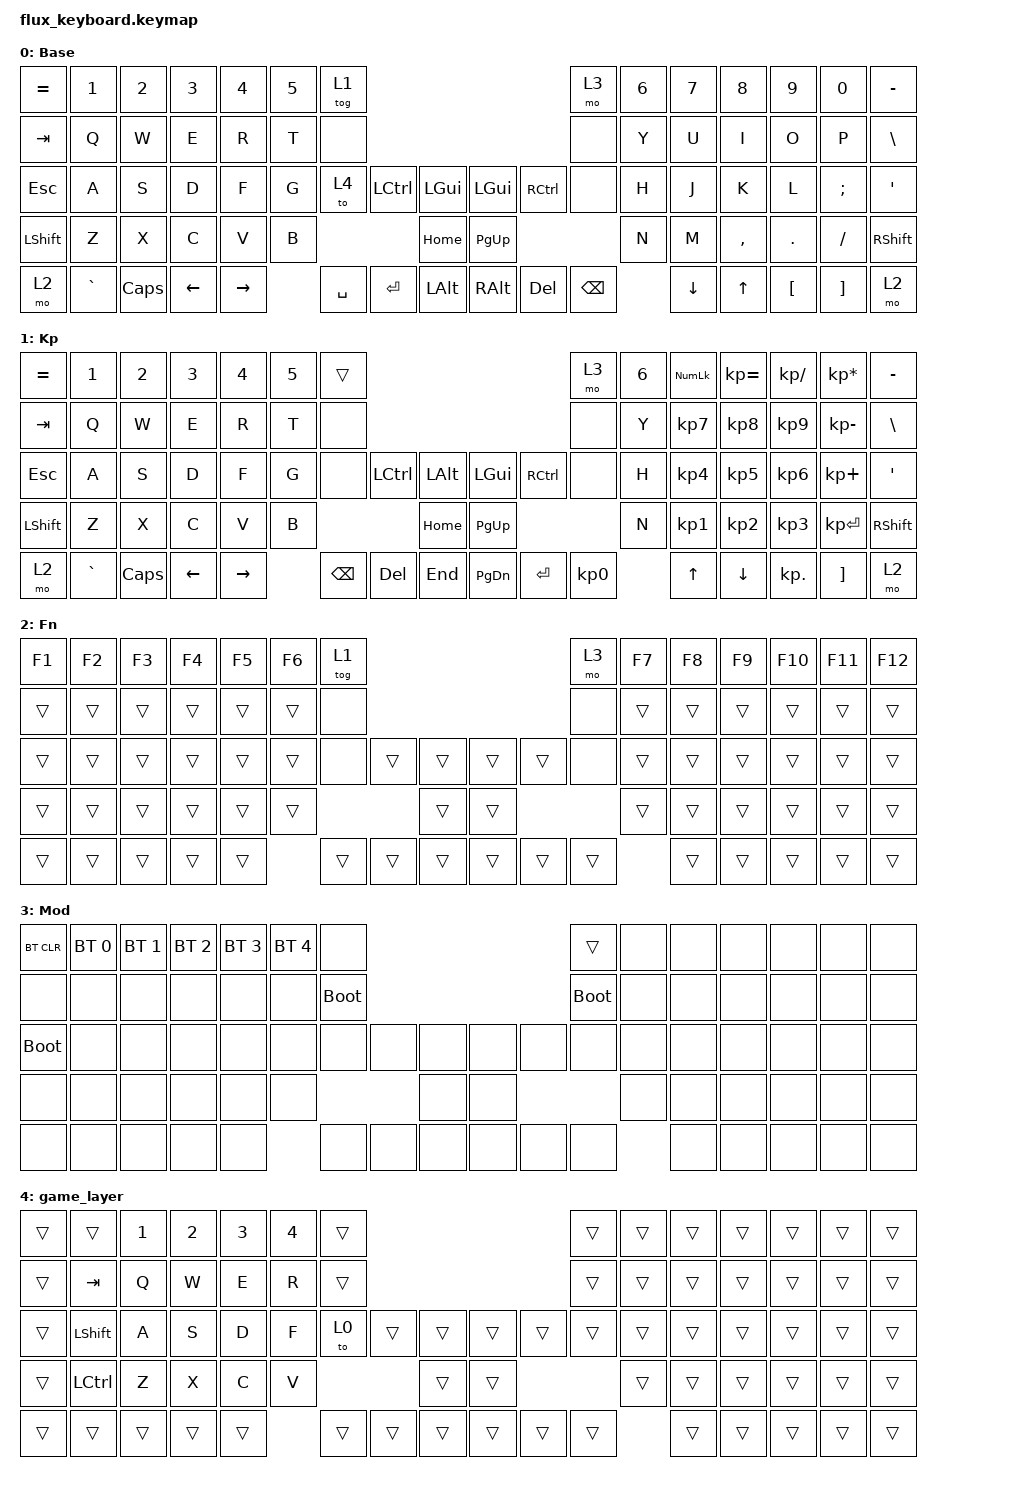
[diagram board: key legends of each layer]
/*
 * User keymap for Flux Keyboard.
 *
 * This mirrors the shield default so local edits can start from the same
 * Advantage-like 76-key order.
 * SPDX-License-Identifier: MIT
 */

#include <behaviors.dtsi>
#include <dt-bindings/zmk/bt.h>
#include <dt-bindings/zmk/keys.h>

/ {
    keymap {
        compatible = "zmk,keymap";

        default_layer {
            display-name = "Base";
            bindings = <
&kp EQUAL  &kp N1     &kp N2    &kp N3    &kp N4     &kp N5  &tog 1                                                              &mo 3          &kp N6  &kp N7    &kp N8     &kp N9    &kp N0    &kp MINUS
&kp TAB    &kp Q      &kp W     &kp E     &kp R      &kp T   &none                                                               &none          &kp Y   &kp U     &kp I      &kp O     &kp P     &kp BSLH
&kp ESC    &kp A      &kp S     &kp D     &kp F      &kp G   &to 4      &kp LCTRL   &kp LGUI          &kp LGUI       &kp RCTRL   &none          &kp H   &kp J     &kp K      &kp L     &kp SEMI  &kp SQT
&kp LSHFT  &kp Z      &kp X     &kp C     &kp V      &kp B                          &kp HOME          &kp PG_UP                                 &kp N   &kp M     &kp COMMA  &kp DOT   &kp FSLH  &kp RSHFT
&mo 2      &kp GRAVE  &kp CAPS  &kp LEFT  &kp RIGHT          &kp SPACE  &kp RETURN  &kp LEFT_ALT      &kp RIGHT_ALT  &kp DELETE  &kp BACKSPACE          &kp DOWN  &kp UP     &kp LBKT  &kp RBKT  &mo 2
            >;
        };

        keypad_layer {
            display-name = "Kp";
            bindings = <
&kp EQUAL  &kp N1     &kp N2    &kp N3    &kp N4     &kp N5  &trans                                                   &mo 3      &kp N6  &kp KP_NUM  &kp KP_EQUAL  &kp KP_DIVIDE  &kp KP_MULTIPLY  &kp MINUS
&kp TAB    &kp Q      &kp W     &kp E     &kp R      &kp T   &none                                                    &none      &kp Y   &kp KP_N7   &kp KP_N8     &kp KP_N9      &kp KP_MINUS     &kp BSLH
&kp ESC    &kp A      &kp S     &kp D     &kp F      &kp G   &none     &kp LCTRL  &kp LALT      &kp LGUI   &kp RCTRL  &none      &kp H   &kp KP_N4   &kp KP_N5     &kp KP_N6      &kp KP_PLUS      &kp SQT
&kp LSHFT  &kp Z      &kp X     &kp C     &kp V      &kp B                        &kp HOME      &kp PG_UP                        &kp N   &kp KP_N1   &kp KP_N2     &kp KP_N3      &kp KP_ENTER     &kp RSHFT
&mo 2      &kp GRAVE  &kp CAPS  &kp LEFT  &kp RIGHT          &kp BSPC  &kp DEL    &kp END       &kp PG_DN  &kp ENTER  &kp KP_N0          &kp UP      &kp DOWN      &kp KP_DOT     &kp RBKT         &mo 2
            >;
        };

        fn_layer {
            display-name = "Fn";
            bindings = <
&kp F1  &kp F2  &kp F3  &kp F4  &kp F5  &kp F6  &tog 1                                      &mo 3   &kp F7  &kp F8  &kp F9  &kp F10  &kp F11  &kp F12
&trans  &trans  &trans  &trans  &trans  &trans  &none                                       &none   &trans  &trans  &trans  &trans   &trans   &trans
&trans  &trans  &trans  &trans  &trans  &trans  &none   &trans  &trans      &trans  &trans  &none   &trans  &trans  &trans  &trans   &trans   &trans
&trans  &trans  &trans  &trans  &trans  &trans                  &trans      &trans                  &trans  &trans  &trans  &trans   &trans   &trans
&trans  &trans  &trans  &trans  &trans          &trans  &trans  &trans      &trans  &trans  &trans          &trans  &trans  &trans   &trans   &trans
            >;
        };

        mod_layer {
            display-name = "Mod";
            bindings = <
&bt BT_CLR   &bt BT_SEL 0  &bt BT_SEL 1  &bt BT_SEL 2  &bt BT_SEL 3  &bt BT_SEL 4  &none                                        &trans       &none  &none  &none  &none  &none  &none
&none        &none         &none         &none         &none         &none         &bootloader                                  &bootloader  &none  &none  &none  &none  &none  &none
&bootloader  &none         &none         &none         &none         &none         &none        &none  &none      &none  &none  &none        &none  &none  &none  &none  &none  &none
&none        &none         &none         &none         &none         &none                             &none      &none                      &none  &none  &none  &none  &none  &none
&none        &none         &none         &none         &none                       &none        &none  &none      &none  &none  &none               &none  &none  &none  &none  &none
            >;
        };

        game_layer {
            bindings = <
&trans  &trans      &kp NUMBER_1  &kp NUMBER_2  &kp NUMBER_3  &kp NUMBER_4  &trans                                      &trans  &trans  &trans  &trans  &trans  &trans  &trans
&trans  &kp TAB     &kp Q         &kp W         &kp E         &kp R         &trans                                      &trans  &trans  &trans  &trans  &trans  &trans  &trans
&trans  &kp LSHIFT  &kp A         &kp S         &kp D         &kp F         &to 0   &trans  &trans      &trans  &trans  &trans  &trans  &trans  &trans  &trans  &trans  &trans
&trans  &kp LCTRL   &kp Z         &kp X         &kp C         &kp V                         &trans      &trans                  &trans  &trans  &trans  &trans  &trans  &trans
&trans  &trans      &trans        &trans        &trans                      &trans  &trans  &trans      &trans  &trans  &trans          &trans  &trans  &trans  &trans  &trans
            >;
        };
    };
};
